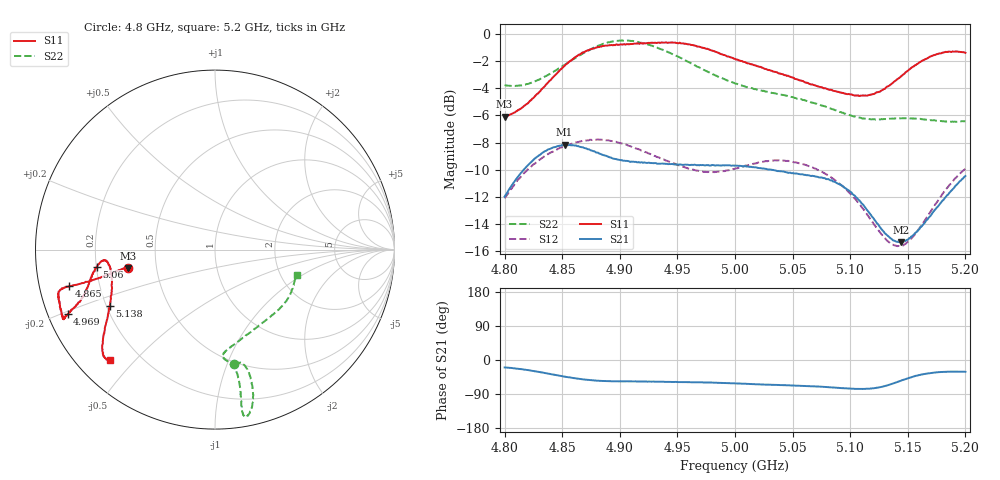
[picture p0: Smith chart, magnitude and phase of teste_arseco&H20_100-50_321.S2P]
! Network Analyzer HP8722D
! Hewlett-Packard
! Data name: Linha & Wilkinson
! Saver's name: Rodrigo Anjos
! Comments: Teste da utilização de aquisição
! continua pelo VNA HP8722D
! Time and date: 6/5/2025 15:14
!  Frequency  S11  S21  S12  S22
# HZ  S  MA R 50
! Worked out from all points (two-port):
!   401 points, 4.8 GHz to 5.2 GHz, reference 50 ohm
!   highest |S21| = -8.16 dB at 4.852 GHz (marker M1); lowest = -15.3 dB at 5.144 GHz (marker M2)
!   |S21| within 3 dB of the highest: 4.806 GHz to 5.093 GHz (286.5 MHz wide, 5.79 % of centre); 5.191795 GHz to end of sweep
!   lowest |S11| = -6.1 dB at 4.8 GHz (marker M3), VSWR 2.97, Z = 17 - j4.58 ohm
!   |S11| at or under -10 dB: nowhere
!   |S22| runs from -6.5 to -0.5 dB; largest |S21 - S12| = 0.62
!   S11 on the Smith chart (normalised r, x): 4.8 GHz: 0.34, -0.09; 4.865 GHz: 0.09, -0.12; 4.969 GHz: 0.06, -0.21; 5.06 GHz: 0.20, -0.07; 5.138 GHz: 0.21, -0.24; 5.2 GHz: 0.09, -0.43
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4.8e9  0.4964 -168.2  0.2521 -19.6  0.2484 -140.8  0.6482 -80.4
4.823e9  0.5701 -167.5  0.3373 -28.1  0.3249 -143.6  0.6606 -76.0
4.852e9  0.7623 -165.8  0.391 -43.7  0.386 -149.3  0.7681 -74.5
4.865e9  0.8399 -165.9  0.3845 -49.9  0.4015 -151.6  0.833 -75.2
4.867e9  0.8506 -165.9  0.3829 -50.8  0.4033 -151.9  0.8421 -75.4
4.883e9  0.8972 -165.1  0.3619 -55.0  0.408 -154.7  0.9091 -77.1
4.899e9  0.9111 -162.7  0.3442 -56.5  0.3981 -156.6  0.9434 -79.0
4.913e9  0.9214 -159.8  0.3379 -56.5  0.3807 -157.0  0.9375 -80.2
4.934e9  0.9286 -156.4  0.333 -57.5  0.3512 -155.6  0.8835 -80.4
4.969e9  0.8966 -156.3  0.3284 -59.0  0.313 -147.3  0.7528 -79.6
5e9  0.8086 -158.8  0.3277 -61.7  0.3195 -137.2  0.657 -81.2
5.036e9  0.7229 -165.6  0.3136 -65.9  0.3423 -134.3  0.6021 -85.7
5.06e9  0.6662 -171.7  0.3029 -68.1  0.3309 -136.1  0.5713 -84.3
5.067e9  0.6514 -173.0  0.3006 -69.1  0.3231 -136.7  0.5587 -82.7
5.087e9  0.6159 -174.6  0.285 -72.9  0.2895 -138.5  0.5237 -74.8
5.101e9  0.5992 -171.9  0.2611 -75.8  0.2557 -138.7  0.5002 -66.5
5.116e9  0.5952 -165.5  0.2212 -75.9  0.213 -135.6  0.4864 -55.7
5.134e9  0.645 -154.3  0.1786 -65.4  0.1709 -120.8  0.4874 -43.3
5.138e9  0.6664 -151.8  0.1735 -61.4  0.167 -115.6  0.4874 -40.8
5.144e9  0.6969 -148.8  0.1712 -54.6  0.1661 -107.6  0.489 -37.5
5.172e9  0.8331 -139.0  0.2212 -33.5  0.2294 -81.1  0.4806 -24.6
5.2e9  0.8519 -133.5  0.2999 -31.3  0.3189 -76.8  0.4771 -17.6
